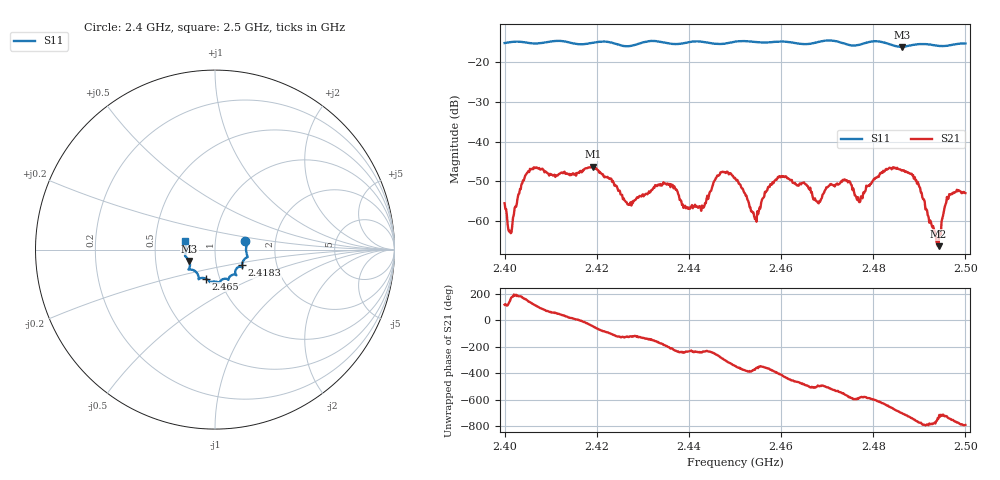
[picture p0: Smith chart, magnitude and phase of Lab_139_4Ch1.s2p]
# Hz S RI R 50
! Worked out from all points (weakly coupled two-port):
!   601 points, 2.4 GHz to 2.5 GHz, reference 50 ohm
!   highest |S21| = -46.25 dB at 2.4192 GHz (marker M1); lowest = -66.3 dB at 2.4942 GHz (marker M2)
!   lowest |S11| = -16.1 dB at 2.4862 GHz (marker M3), VSWR 1.37, Z = 37.2 - j4.83 ohm
!   |S11| at or under -10 dB: start of sweep to end of sweep
!   S12 and S22 are empty: the file has one direction only
!   S11 on the Smith chart (normalised r, x): 2.4 GHz: 1.40, +0.14; 2.4183 GHz: 1.33, -0.24; 2.465 GHz: 0.86, -0.29; 2.5 GHz: 0.71, +0.07
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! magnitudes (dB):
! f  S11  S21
! 2.4 GHz  -15.1  -55.5
! 2.4012 GHz  -14.9  -62.4
! 2.4055 GHz  -15.2  -46.8
! 2.4167 GHz  -15.4  -47.7
! 2.4183 GHz  -15.2  -46.5
! 2.4192 GHz  -15.0  -46.2
! 2.427 GHz  -15.9  -55.7
! 2.4333 GHz  -14.7  -50.8
! 2.4428 GHz  -14.8  -56.1
! 2.4467 GHz  -15.4  -48.3
! 2.45 GHz  -14.8  -49.1
! 2.4545 GHz  -14.9  -59.2
! 2.4592 GHz  -14.8  -49.3
! 2.465 GHz  -15.4  -50.3
! 2.4667 GHz  -15.2  -52.7
! 2.4738 GHz  -15.3  -49.5
! 2.4772 GHz  -15.5  -55.1
! 2.4833 GHz  -15.4  -46.7
! 2.4862 GHz  -16.1  -47.3
! 2.4942 GHz  -15.8  -66.3
! 2.4963 GHz  -15.8  -54.3
! 2.5 GHz  -15.2  -52.9
